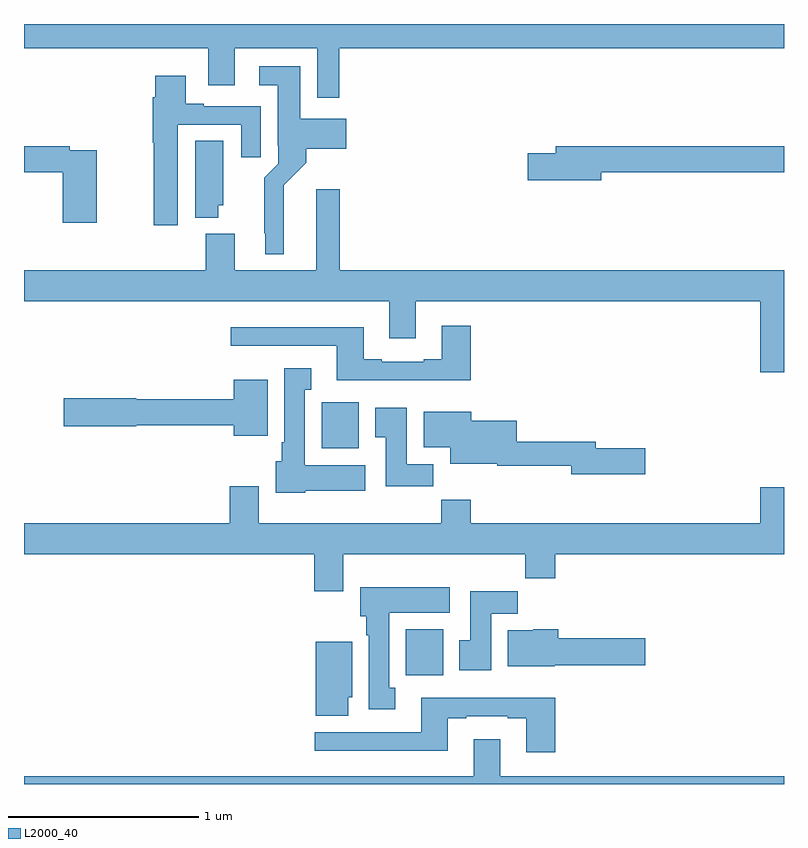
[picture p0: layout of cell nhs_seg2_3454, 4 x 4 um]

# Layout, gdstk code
import gdstk
lib = gdstk.Library(unit=1e-6, precision=1e-09)
def R(c, l, rs):  # rectangles x0, y0, x1, y1
    for r in rs: c.add(gdstk.rectangle(r[:2], r[2:], *l))
def P(c, l, *ps):  # polygons
    for p in ps: c.add(gdstk.Polygon(p, *l))
L2000_40 = (2000, 40)

nhs_seg2_3454 = lib.new_cell('nhs_seg2_3454')
R(nhs_seg2_3454, L2000_40, [(295.01,608.372,295.207,608.614), (294.566,609.566,294.763,609.808)])
P(nhs_seg2_3454, L2000_40, [(297,611.8),(293,611.8),(293,611.672),(293.969,611.672),(293.969,611.478),(294.109,611.478),(294.109,611.672),(294.543,611.672),(294.543,611.412),(294.659,611.412),(294.659,611.672),(297,611.672)],
  [(294.367,610.952),(294.485,611.07),(294.485,611.144),(294.697,611.144),(294.697,611.302),(294.454,611.302),(294.454,611.578),(294.237,611.578),(294.237,611.477),(294.335,611.477),(294.335,611.158),(294.339,611.158),(294.339,611.064),(294.265,610.99),(294.265,610.699),(294.269,610.699),(294.269,610.589),(294.367,610.589)],
  [(293.809,611.271),(294.143,611.271),(294.143,611.1),(294.247,611.1),(294.247,611.367),(293.947,611.367),(293.947,611.38),(293.851,611.38),(293.851,611.527),(293.69,611.527),(293.69,611.414),(293.678,611.414),(293.678,611.174),(293.683,611.174),(293.683,610.74),(293.809,610.74)],
  [(294.022,610.845),(294.049,610.845),(294.049,611.186),(293.9,611.186),(293.9,610.781),(294.022,610.781)],
  [(293.382,611.136),(293.24,611.136),(293.24,611.156),(293,611.156),(293,611.02),(293.204,611.02),(293.204,610.755),(293.382,610.755)],
  [(296.038,611.02),(297,611.02),(297,611.156),(295.799,611.156),(295.799,611.12),(295.65,611.12),(295.65,610.978),(296.038,610.978)],
  [(293.957,610.696),(293.957,610.504),(293,610.504),(293,610.34),(294.923,610.34),(294.923,610.146),(295.063,610.146),(295.063,610.34),(296.876,610.34),(296.876,609.966),(297,609.966),(297,610.504),(294.662,610.504),(294.662,610.93),(294.539,610.93),(294.539,610.504),(294.109,610.504),(294.109,610.696)],
  [(295.352,610.213),(295.199,610.213),(295.199,610.036),(295.103,610.036),(295.103,610.023),(294.883,610.023),(294.883,610.036),(294.787,610.036),(294.787,610.204),(294.087,610.204),(294.087,610.107),(294.647,610.107),(294.647,609.926),(295.352,609.926)],
  [(294.48,609.344),(294.796,609.344),(294.796,609.478),(294.478,609.478),(294.478,609.875),(294.511,609.875),(294.511,609.988),(294.371,609.988),(294.371,609.598),(294.356,609.598),(294.356,609.498),(294.326,609.498),(294.326,609.332),(294.48,609.332)],
  [(294.283,609.928),(294.104,609.928),(294.104,609.824),(293.592,609.824),(293.592,609.83),(293.208,609.83),(293.208,609.683),(293.592,609.683),(293.592,609.688),(294.104,609.688),(294.104,609.632),(294.283,609.632)],
  [(295.154,609.484),(295.015,609.484),(295.015,609.781),(294.848,609.781),(294.848,609.625),(294.905,609.625),(294.905,609.366),(295.154,609.366)],
  [(296.269,609.566),(296.008,609.566),(296.008,609.602),(295.594,609.602),(295.594,609.712),(295.354,609.712),(295.354,609.76),(295.103,609.76),(295.103,609.572),(295.244,609.572),(295.244,609.485),(295.49,609.485),(295.49,609.474),(295.88,609.474),(295.88,609.431),(296.269,609.431)],
  [(294.679,609.008),(295.639,609.008),(295.639,608.884),(295.796,608.884),(295.796,609.008),(297,609.008),(297,609.361),(296.876,609.361),(296.876,609.172),(295.352,609.172),(295.352,609.296),(295.195,609.296),(295.195,609.172),(294.235,609.172),(294.235,609.367),(294.083,609.367),(294.083,609.172),(293,609.172),(293,609.008),(294.527,609.008),(294.527,608.814),(294.679,608.814)],
  [(294.955,608.306),(294.922,608.306),(294.922,608.702),(295.24,608.702),(295.24,608.836),(294.77,608.836),(294.77,608.682),(294.8,608.682),(294.8,608.582),(294.815,608.582),(294.815,608.193),(294.955,608.193)],
  [(295.459,608.696),(295.598,608.696),(295.598,608.815),(295.349,608.815),(295.349,608.556),(295.292,608.556),(295.292,608.4),(295.459,608.4)],
  [(295.794,608.426),(296.269,608.426),(296.269,608.568),(295.811,608.568),(295.811,608.614),(295.68,608.614),(295.68,608.608),(295.547,608.608),(295.547,608.42),(295.794,608.42)],
  [(294.706,608.256),(294.727,608.256),(294.727,608.548),(294.536,608.548),(294.536,608.158),(294.706,608.158)],
  [(295.796,608.254),(295.091,608.254),(295.091,608.073),(294.531,608.073),(294.531,607.976),(295.231,607.976),(295.231,608.145),(295.327,608.145),(295.327,608.157),(295.547,608.157),(295.547,608.145),(295.643,608.145),(295.643,607.968),(295.796,607.968)],
  [(297,607.84),(295.507,607.84),(295.507,608.035),(295.367,608.035),(295.367,607.84),(293,607.84),(293,607.8),(297,607.8)])

lib.write_gds('nhs_seg2_3454.gds')
